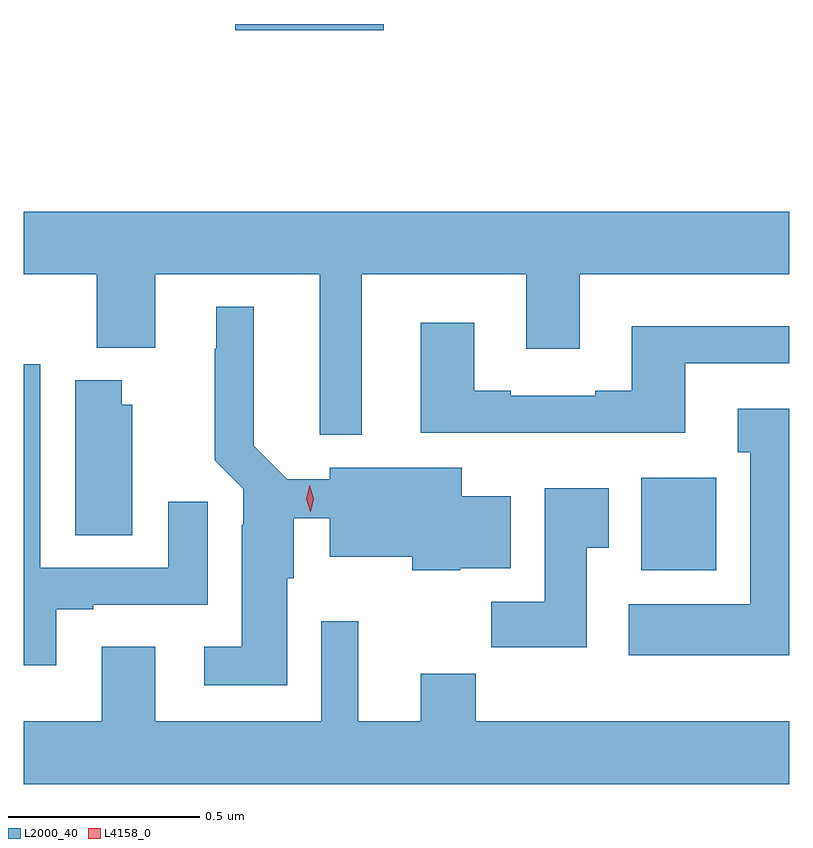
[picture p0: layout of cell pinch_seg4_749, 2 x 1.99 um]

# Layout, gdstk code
import gdstk
lib = gdstk.Library(unit=1e-6, precision=1e-09)
def R(c, l, rs):  # rectangles x0, y0, x1, y1
    for r in rs: c.add(gdstk.rectangle(r[:2], r[2:], *l))
def P(c, l, *ps):  # polygons
    for p in ps: c.add(gdstk.Polygon(p, *l))
L2000_40 = (2000, 40)
L4158_0 = (4158, 0)

pinch_seg4_749 = lib.new_cell('pinch_seg4_749')
R(pinch_seg4_749, L2000_40, [(881.681,830.678,881.878,830.92), (880.62,832.09,881.008,832.106)])
P(pinch_seg4_749, L2000_40, [(880.951,831.452),(881.381,831.452),(881.381,831.258),(881.521,831.258),(881.521,831.452),(882.068,831.452),(882.068,831.616),(880.068,831.616),(880.068,831.452),(880.259,831.452),(880.259,831.26),(880.411,831.26),(880.411,831.452),(880.841,831.452),(880.841,831.032),(880.951,831.032)],
  [(880.756,830.658),(880.774,830.658),(880.774,830.815),(880.868,830.815),(880.868,830.714),(881.083,830.714),(881.083,830.678),(881.208,830.678),(881.208,830.684),(881.341,830.684),(881.341,830.872),(881.212,830.872),(881.212,830.947),(880.868,830.947),(880.868,830.916),(880.756,830.916),(880.669,831.004),(880.669,831.367),(880.571,831.367),(880.571,831.257),(880.567,831.257),(880.567,830.966),(880.641,830.892),(880.641,830.798),(880.637,830.798),(880.637,830.479),(880.539,830.479),(880.539,830.378),(880.756,830.378)],
  [(881.797,831.219),(882.068,831.219),(882.068,831.316),(881.657,831.316),(881.657,831.148),(881.561,831.148),(881.561,831.135),(881.341,831.135),(881.341,831.148),(881.245,831.148),(881.245,831.325),(881.105,831.325),(881.105,831.038),(881.797,831.038)],
  [(880.153,830.577),(880.249,830.577),(880.249,830.589),(880.549,830.589),(880.549,830.857),(880.445,830.857),(880.445,830.685),(880.111,830.685),(880.111,831.217),(880.068,831.217),(880.068,830.43),(880.153,830.43)],
  [(880.351,831.111),(880.324,831.111),(880.324,831.175),(880.202,831.175),(880.202,830.77),(880.351,830.77)],
  [(882.068,831.1),(881.933,831.1),(881.933,830.987),(881.966,830.987),(881.966,830.59),(881.649,830.59),(881.649,830.456),(882.068,830.456)],
  [(881.539,830.737),(881.596,830.737),(881.596,830.893),(881.429,830.893),(881.429,830.596),(881.29,830.596),(881.29,830.478),(881.539,830.478)],
  [(882.068,830.284),(881.249,830.284),(881.249,830.408),(881.105,830.408),(881.105,830.284),(880.942,830.284),(880.942,830.545),(880.845,830.545),(880.845,830.284),(880.411,830.284),(880.411,830.479),(880.271,830.479),(880.271,830.284),(880.068,830.284),(880.068,830.12),(882.068,830.12)])
P(pinch_seg4_749, L4158_0, [(880.817,830.831),(880.817,830.831),(880.806,830.866),(880.815,830.901),(880.815,830.901),(880.815,830.901),(880.826,830.866),(880.818,830.831)])

lib.write_gds('pinch_seg4_749.gds')
